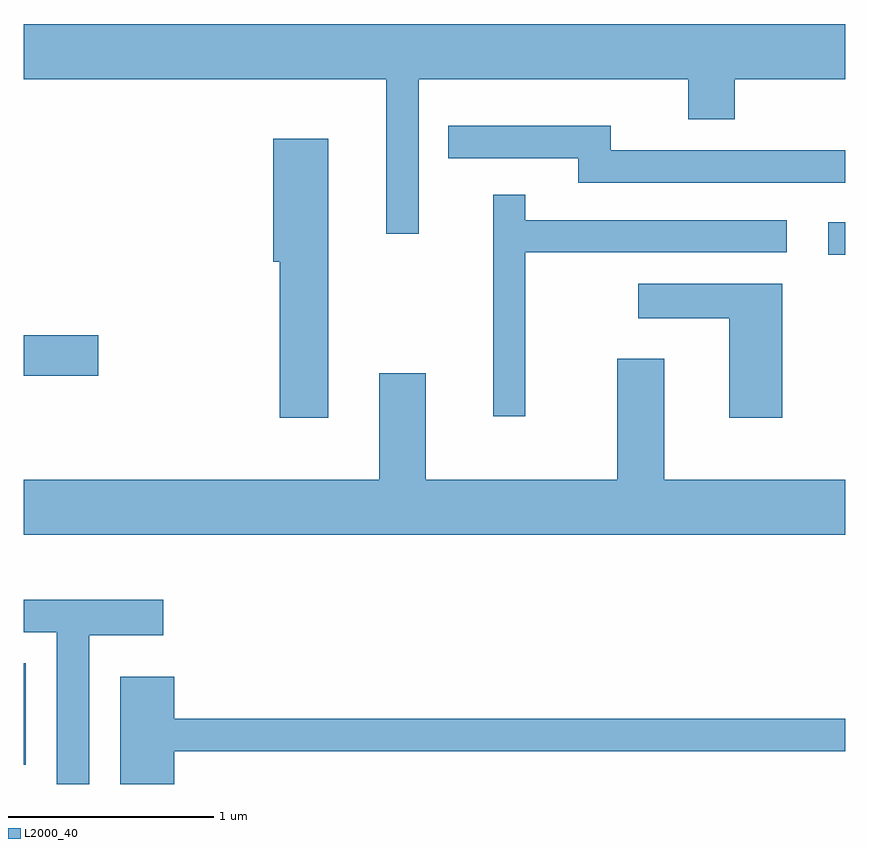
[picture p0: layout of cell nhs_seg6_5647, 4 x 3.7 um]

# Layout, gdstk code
import gdstk
lib = gdstk.Library(unit=1e-6, precision=1e-09)
def R(c, l, rs):  # rectangles x0, y0, x1, y1
    for r in rs: c.add(gdstk.rectangle(r[:2], r[2:], *l))
def P(c, l, *ps):  # polygons
    for p in ps: c.add(gdstk.Polygon(p, *l))
L2000_40 = (2000, 40)

nhs_seg6_5647 = lib.new_cell('nhs_seg6_5647')
R(nhs_seg6_5647, L2000_40, [(357.611,1542.256,357.619,1542.749), (357.611,1544.151,357.974,1544.349), (361.528,1544.741,361.611,1544.899)])
P(nhs_seg6_5647, L2000_40, [(359.534,1545.596),(360.846,1545.596),(360.846,1545.401),(361.074,1545.401),(361.074,1545.596),(361.611,1545.596),(361.611,1545.864),(357.611,1545.864),(357.611,1545.596),(359.376,1545.596),(359.376,1544.843),(359.534,1544.843)],
  [(361.611,1545.249),(360.469,1545.249),(360.469,1545.369),(359.678,1545.369),(359.678,1545.211),(360.311,1545.211),(360.311,1545.091),(361.611,1545.091)],
  [(359.094,1545.304),(358.826,1545.304),(358.826,1544.706),(358.856,1544.706),(358.856,1543.946),(359.094,1543.946)],
  [(360.054,1544.751),(361.328,1544.751),(361.328,1544.909),(360.054,1544.909),(360.054,1545.033),(359.896,1545.033),(359.896,1543.953),(360.054,1543.953)],
  [(361.304,1544.599),(360.603,1544.599),(360.603,1544.431),(361.046,1544.431),(361.046,1543.946),(361.304,1543.946)],
  [(361.611,1543.644),(360.729,1543.644),(360.729,1544.234),(360.501,1544.234),(360.501,1543.644),(359.569,1543.644),(359.569,1544.164),(359.341,1544.164),(359.341,1543.644),(357.611,1543.644),(357.611,1543.376),(361.611,1543.376)],
  [(357.929,1542.886),(358.289,1542.886),(358.289,1543.059),(357.611,1543.059),(357.611,1542.901),(357.771,1542.901),(357.771,1542.162),(357.929,1542.162)],
  [(358.344,1542.321),(361.611,1542.321),(361.611,1542.479),(358.344,1542.479),(358.344,1542.684),(358.081,1542.684),(358.081,1542.162),(358.344,1542.162)])

lib.write_gds('nhs_seg6_5647.gds')
